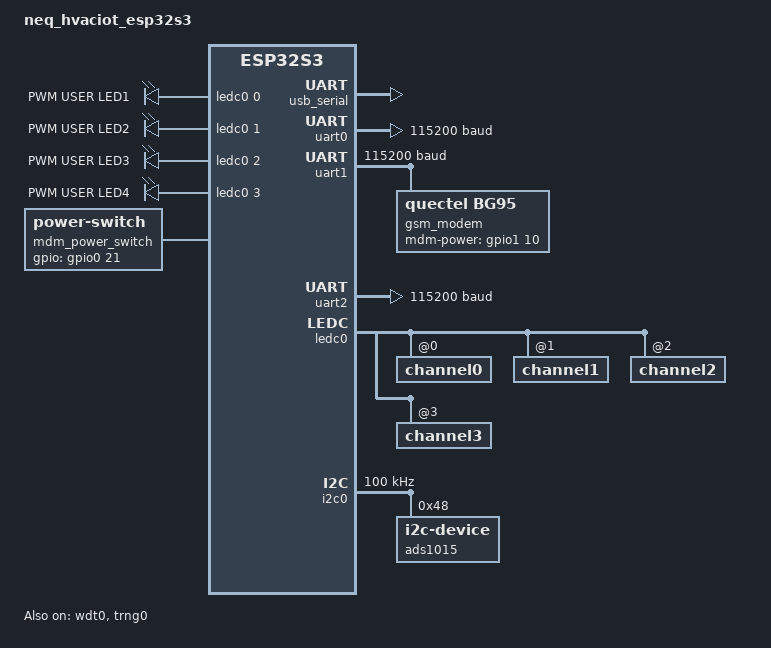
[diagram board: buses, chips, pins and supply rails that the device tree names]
/*
 * Copyright (c) 2022 Espressif Systems (Shanghai) Co., Ltd.
 *
 * SPDX-License-Identifier: Apache-2.0
 */
/dts-v1/;

#include <espressif/esp32s3/esp32s3_wroom_n4r2.dtsi>
#include <zephyr/dt-bindings/pwm/pwm.h>
#include <zephyr/dt-bindings/adc/adc.h>
#include "neq_hvaciot_esp32s3-pinctrl.dtsi"

/ {
	model = "neq_hvaciot_esp32s3";
	compatible = "espressif,esp32s3";

	chosen {
		zephyr,sram = &sram0;
		zephyr,console = &uart0;
		zephyr,shell-uart = &uart0;
		zephyr,flash = &flash0;
	};

	aliases {
		i2c-0 = &i2c0;
		watchdog0 = &wdt0;
		uart-0 = &uart0;
		i2c-adc = &ads1015;
		pwm-user-led1 = &pwm_led_user1;
		pwm-user-led2 = &pwm_led_user2;
		pwm-user-led3 = &pwm_led_user3;
		pwm-user-led4 = &pwm_led_user4;
		mdm-power-switch = &mdm_power_switch;
		mux-a0-pin = &a0_pin;
		mux-a1-pin = &a1_pin;
		mux-a2-pin = &a2_pin;
		mux-a3-pin = &a3_pin;
		mux-en0-pin = &en0_pin;
		mux-en1-pin = &en1_pin;
		mux-en2-pin = &en2_pin;
		pg-5v0-pin = &pg_5v0;
		modem-uart = &uart1;
		modem = &gsm_modem;
	};

	pwmleds {
		compatible = "pwm-leds";
		pwm_led_user1: pwm_led_gpio0_7 {
			label = "PWM USER LED1";
			pwms = <&ledc0 0 1000 PWM_POLARITY_NORMAL>;
		};
		pwm_led_user2: pwm_led_gpio0_6 {
			label = "PWM USER LED2";
			pwms = <&ledc0 1 1000 PWM_POLARITY_NORMAL>;
		};
		pwm_led_user3: pwm_led_gpio0_5 {
			label = "PWM USER LED3";
			pwms = <&ledc0 2 1000 PWM_POLARITY_NORMAL>;
		};
		pwm_led_user4: pwm_led_gpio0_4 {
			label = "PWM USER LED4";
			pwms = <&ledc0 3 1000 PWM_POLARITY_NORMAL>;
		};
	};

	mdm_power_switch: mdm_power_switch {
		compatible = "power-switch";
		gpios = <&gpio0 21 (GPIO_ACTIVE_HIGH | GPIO_PULL_DOWN)>;
	};

	mux {
		compatible = "gpios";
		a0_pin: a0_pin {
			gpios = <&gpio0 18 (GPIO_ACTIVE_HIGH | GPIO_PULL_DOWN)>;
		};
		a1_pin: a1_pin {
			gpios = <&gpio0 17 (GPIO_ACTIVE_HIGH | GPIO_PULL_DOWN)>;
		};
		a2_pin: a2_pin {
			gpios = <&gpio0 16 (GPIO_ACTIVE_HIGH | GPIO_PULL_DOWN)>;
		};
		a3_pin: a3_pin {
			gpios = <&gpio0 15 (GPIO_ACTIVE_HIGH | GPIO_PULL_DOWN)>;
		};
		en0_pin: en0_pin {
			gpios = <&gpio0 1 (GPIO_ACTIVE_HIGH | GPIO_PULL_DOWN)>;
		};
		en1_pin: en1_pin {
			gpios = <&gpio0 2 (GPIO_ACTIVE_HIGH | GPIO_PULL_DOWN)>;
		};
		en2_pin: en2_pin {
			gpios = <&gpio0 8 (GPIO_ACTIVE_HIGH | GPIO_PULL_DOWN)>;
		};
	};

	5v0_ctrl {
		compatible = "gpios";
		pg_5v0: pg_5v0 {
			gpios = <&gpio1 8 GPIO_ACTIVE_HIGH>;
		};
	};
};

&cpu0 {
	clock-frequency = <ESP32_CLK_CPU_240M>;
};

&cpu1 {
	clock-frequency = <ESP32_CLK_CPU_240M>;
};

&usb_serial {
	status = "okay";
};

&uart0 {
	status = "okay";
	current-speed = <115200>;
	pinctrl-0 = <&uart0_default>;
	pinctrl-names = "default";
};

&uart1 {
	status = "okay";
	current-speed = <115200>;
	hw-flow-control;
	pinctrl-0 = <&uart1_default>;
	pinctrl-names = "default";

	gsm_modem: gsm_modem {
		compatible = "quectel,bg95";
		mdm-power-gpios = <&gpio1 10 (GPIO_ACTIVE_HIGH | GPIO_PULL_DOWN)>;
		// mdm-reset-gpios = <&gpio1 9 (GPIO_ACTIVE_HIGH | GPIO_PULL_DOWN)>;
		status = "okay";
	};
};

&uart2 {
	status = "okay";
	current-speed = <115200>;
	pinctrl-0 = <&uart2_default>;
	pinctrl-names = "default";
};

&gpio0 {
	status = "okay";
};

&gpio1 {
	status = "okay";
};

&ledc0 {
	pinctrl-0 = <&ledc0_default>;
	pinctrl-names = "default";
	status = "okay";
	#address-cells = <1>;
	#size-cells = <0>;
	channel0@0 {
		reg = <0x0>;
		timer = <0>;
	};
	channel1@1 {
		reg = <0x1>;
		timer = <0>;
	};
	channel2@2 {
		reg = <0x2>;
		timer = <0>;
	};
	channel3@3 {
		reg = <0x3>;
		timer = <0>;
	};
};

&i2c0 {
	status = "okay";
	clock-frequency = <I2C_BITRATE_STANDARD>;
	pinctrl-0 = <&i2c0_default>;
	pinctrl-names = "default";

	ads1015: ads1015@48 {
		// compatible = "ti,ads1015";
		compatible = "i2c-device";
		reg = <0x48>;
/*		#io-channel-cells = <1>;
		#address-cells = <1>;
		#size-cells = <0>;
		channel@0 {
			reg = <0>;
			zephyr,gain = "ADC_GAIN_1_3";
			zephyr,reference = "ADC_REF_INTERNAL";
			zephyr,acquisition-time = <ADC_ACQ_TIME_DEFAULT>;
			zephyr,resolution = <11>;
			zephyr,input-positive = <0>;
		};*/
	};
};

&timer0 {
	status = "disabled";
};

&timer1 {
	status = "disabled";
};

&timer2 {
	status = "disabled";
};

&timer3 {
	status = "disabled";
};

&wdt0 {
	status = "okay";
};

&trng0 {
	status = "okay";
};

/* 4 MB Flash */
&flash0 {
	status = "okay";
	reg = < 0x0 DT_SIZE_M(4) >;
	partitions {
		compatible = "fixed-partitions";
		#address-cells = <1>;
		#size-cells = <1>;

		/* Reserve 64kB for the bootloader */
		boot_partition: partition@0 {
			label = "mcuboot";
			reg = <0x00000000 0x00010000>;
			read-only;
		};

		/* Reserve 1024kB for the application in slot 0 */
		slot0_partition: partition@10000 {
			label = "image-0";
			reg = <0x00010000 0x00100000>;
		};

		/* Reserve 1024kB for the application in slot 1 */
		slot1_partition: partition@110000 {
			label = "image-1";
			reg = <0x00110000 0x00100000>;
		};

		/* Reserve 256kB for the scratch partition */
		scratch_partition: partition@210000 {
			   label = "not-used";
			   reg = <0x00210000 0x00040000>;
		};

		/* Reserve 32kB for device certificates */
		certs_partition: partition@250000 {
			label = "certs";
			reg = <0x00250000 DT_SIZE_K(32)>;
		};

		/* Reserve 24kB for device settings */
		settings_partition: partition@258000 {
			label = "settings";
			reg = <0x00258000 DT_SIZE_K(24)>;
		};

		/* Reserve 24kB for generic storage */
		storage_partition: partition@25E000 {
			label = "storage";
			reg = <0x0025E000 DT_SIZE_K(24)>;
		};
	};
};
